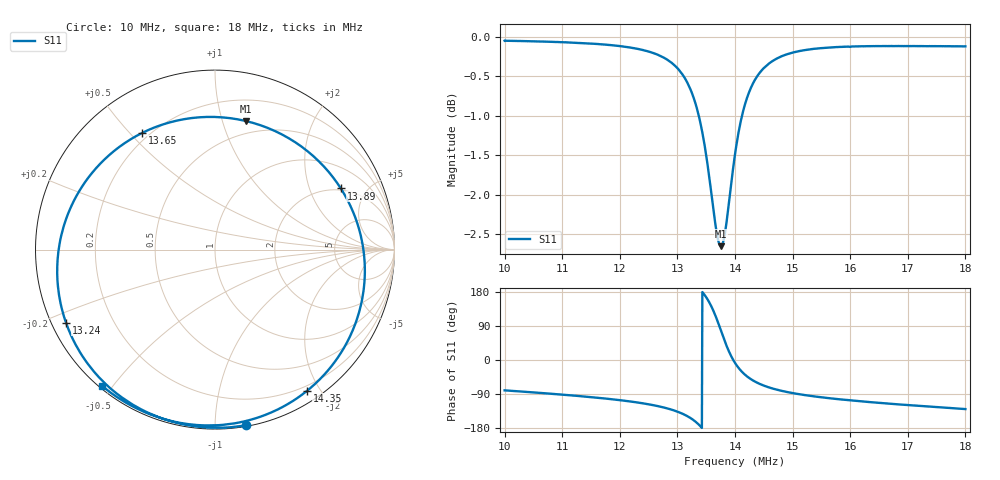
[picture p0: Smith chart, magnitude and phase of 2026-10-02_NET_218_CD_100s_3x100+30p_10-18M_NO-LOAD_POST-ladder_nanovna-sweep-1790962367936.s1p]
! NanoVNA Web complex sweep
! Processing: unaveraged complex samples; linear segment spacing; no smoothing
# Hz S RI R 50
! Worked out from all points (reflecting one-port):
!   1010 points, 10 MHz to 18 MHz, reference 50 ohm
!   lowest |S11| = -2.7 dB at 13.76 MHz (marker M1), VSWR 6.60, Z = 19 + j59.6 ohm
!   phase of S11 starts at -80 deg and turns -409 deg over the sweep
!   S11 on the Smith chart (normalised r, x): 10 MHz: 0.01, -1.19; 13.24 MHz: 0.04, -0.23; 13.65 MHz: 0.17, +0.54; 13.89 MHz: 1.91, +3.32; 14.35 MHz: 0.14, -1.84; 18 MHz: 0.01, -0.47
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1e7  0.1707 -0.9796
1.100698e7  -0.0251 -0.9919
1.200604e7  -0.2723 -0.9481
1.261657e7  -0.4918 -0.8425
1.283065e7  -0.5951 -0.7619
1.300509e7  -0.6932 -0.6566
1.312403e7  -0.7656 -0.5492
1.323503e7  -0.8304 -0.407
1.33619e7  -0.8779 -0.1693
1.348083e7  -0.8366 0.1498
1.356805e7  -0.6842 0.4282
1.364734e7  -0.4047 0.6506
1.370284e7  -0.1313 0.7328
1.375835e7  0.1701 0.7168
1.382971e7  0.5154 0.5482
1.388521e7  0.701 0.3408
1.394071e7  0.8025 0.1149
1.400414e7  0.8349 -0.1253
1.407551e7  0.8032 -0.3473
1.41548e7  0.7273 -0.5319
1.424202e7  0.6284 -0.6743
1.434509e7  0.5141 -0.7857
1.460675e7  0.2789 -0.9215
1.50032e7  0.0449 -0.9762
1.544722e7  -0.1271 -0.9751
1.600225e7  -0.2791 -0.9451
1.700131e7  -0.4779 -0.8631
1.800036e7  -0.6274 -0.7609
